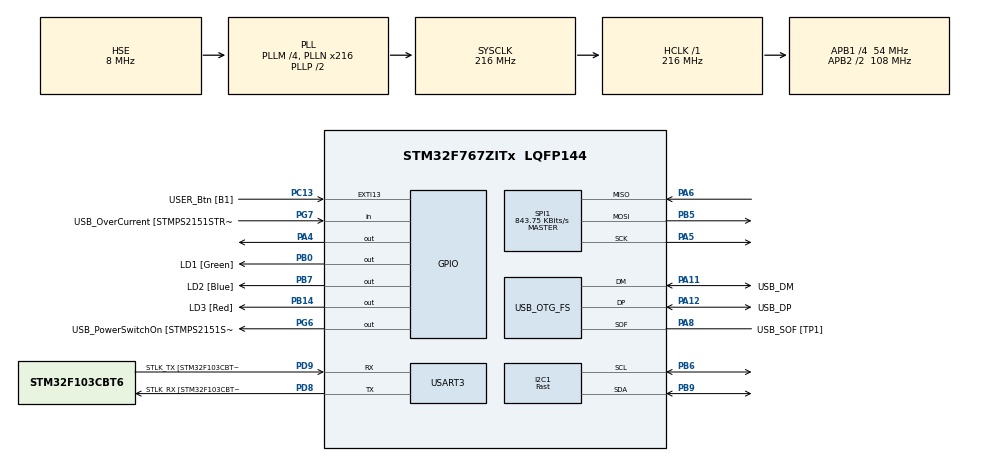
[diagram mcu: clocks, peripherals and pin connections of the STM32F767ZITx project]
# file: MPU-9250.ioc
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Mcu.Family=STM32F7
PA6.Mode=Full_Duplex_Master
USB_DEVICE.CLASS_NAME_FS=CDC
RCC.CortexFreq_Value=216000000
PG6.Signal=GPIO_Output
I2C1.I2C_Speed_Mode=I2C_Fast
SPI1.VirtualType=VM_MASTER
PB14.GPIO_Label=LD3 [Red]
I2C1.I2C_Rise_Time=100
PG6.GPIO_Label=USB_PowerSwitchOn [STMPS2151STR_EN]
PA14.GPIO_Label=TCK
RCC.SYSCLKSourceVirtual=RCC_SYSCLKSOURCE_PLLCLK
PA11.Mode=Device_Only
PB0.GPIO_Label=LD1 [Green]
PC14/OSC32_IN.Mode=LSE-External-Oscillator
USB_DEVICE.VirtualMode-CDC_FS=Cdc
PC13.GPIO_Label=USER_Btn [B1]
PB13.GPIO_Label=RMII_TXD1 [LAN8742A-CZ-TR_TXD1]
PB13.Signal=ETH_TXD1
PG13.Signal=ETH_TXD0
PD9.Mode=Asynchronous
PG11.Signal=ETH_TX_EN
RCC.SYSCLKSource=RCC_SYSCLKSOURCE_PLLCLK
ProjectManager.StackSize=0x400
USART3.VirtualMode-Asynchronous=VM_ASYNC
PA12.Signal=USB_OTG_FS_DP
SPI1.CLKPolarity=SPI_POLARITY_HIGH
SPI1.Direction=SPI_DIRECTION_2LINES
PH0/OSC_IN.Mode=HSE-External-Clock-Source
RCC.HCLKFreq_Value=216000000
RCC.APB2TimFreq_Value=216000000
PB6.Signal=I2C1_SCL
PH1/OSC_OUT.Signal=RCC_OSC_OUT
PB6.Mode=I2C
SPI1.CalculateBaudRate=843.75 KBits/s
PD8.Signal=USART3_TX
RCC.AHBFreq_Value=216000000
RCC.HSE_VALUE=8000000
RCC.PLLMUL=RCC_PLL_MUL9
PC4.GPIO_Label=RMII_RXD0 [LAN8742A-CZ-TR_RXD0]
PA14.Mode=Serial_Wire
PB5.Mode=Full_Duplex_Master
SPI1.DataSize=SPI_DATASIZE_16BIT
PA10.GPIO_Label=USB_ID
PB7.Signal=GPIO_Output
PA8.Signal=USB_OTG_FS_SOF
PH1/OSC_OUT.Mode=HSE-External-Clock-Source
PB7.GPIO_Label=LD2 [Blue]
Mcu.Package=LQFP144
PB9.Signal=I2C1_SDA
PA6.Signal=SPI1_MISO
PC14/OSC32_IN.Signal=RCC_OSC32_IN
NVIC.OTG_FS_IRQn=true\:0\:0\:false\:false\:true\:false\:true
PA2.GPIO_Label=RMII_MDIO [LAN8742A-CZ-TR_MDIO]
PA10.Signal=USB_OTG_FS_ID
USB_OTG_FS.VirtualMode=Device_Only
RCC.APB2CLKDivider=RCC_HCLK_DIV2
RCC.APB1TimFreq_Value=108000000
PG11.GPIO_Label=RMII_TX_EN [LAN8742A-CZ-TR_TXEN]
PC5.Signal=ETH_RXD1
SPI1.BaudRatePrescaler=SPI_BAUDRATEPRESCALER_128
PA5.Mode=Full_Duplex_Master
PB3.GPIO_Label=SWO
PG7.Signal=GPIO_Input
PD9.GPIO_Label=STLK_TX [STM32F103CBT6_PA2]
USB_DEVICE.VirtualModeFS=Cdc_FS
I2C1.I2C_Fall_Time=100
PC13.Signal=GPXTI13
PA9.GPIO_Label=USB_VBUS
PC4.Signal=ETH_RXD0
PA11.GPIO_Label=USB_DM
PD9.Signal=USART3_RX
RCC.APB1CLKDivider=RCC_HCLK_DIV4
PG13.GPIO_Label=RMII_TXD0 [LAN8742A-CZ-TR_TXD0]
PA12.GPIO_Label=USB_DP
I2C1.Analog_Filter=I2C_ANALOGFILTER_DISABLE
PD8.GPIO_Label=STLK_RX [STM32F103CBT6_PA3]
PA13.Signal=SYS_JTMS-SWDIO
PA8.GPIO_Label=USB_SOF [TP1]
ProjectManager.TargetToolchain=STM32CubeIDE
VP_USB_DEVICE_VS_USB_DEVICE_CDC_FS.Mode=CDC_FS
PB9.Mode=I2C
PA9.Signal=USB_OTG_FS_VBUS
I2C1.Timing=0x00A02353
RCC.USBFreq_Value=48000000
PD8.Mode=Asynchronous
PA1.Signal=ETH_REF_CLK
PB14.Signal=GPIO_Output
PA5.Signal=SPI1_SCK
board=NUCLEO-F767ZI
RCC.VCOOutputFreq_Value=432000000
PH0/OSC_IN.Signal=RCC_OSC_IN
RCC.APB2Freq_Value=108000000
RCC.PRESCALERUSB=RCC_USBCLKSOURCE_PLL_DIV1_5
SPI1.Mode=SPI_MODE_MASTER
PG7.GPIO_Label=USB_OverCurrent [STMPS2151STR_FAULT]
PA1.GPIO_Label=RMII_REF_CLK [LAN8742A-CZ-TR_REFCLK0]
PC1.GPIO_Label=RMII_MDC [LAN8742A-CZ-TR_MDC]
PA13.Mode=Serial_Wire
Mcu.Name=STM32F767ZITx
PA2.Signal=ETH_MDIO
PA13.GPIO_Label=TMS
RCC.48MHZClocksFreq_Value=24000000
PB3.Signal=SYS_JTDO-SWO
PA4.Signal=GPIO_Output
RCC.SYSCLKFreq_VALUE=216000000
PB5.Signal=SPI1_MOSI
PA7.GPIO_Label=RMII_CRS_DV [LAN8742A-CZ-TR_CRS_DV]
PA12.Mode=Device_Only
PC5.GPIO_Label=RMII_RXD1 [LAN8742A-CZ-TR_RXD1]
PC15/OSC32_OUT.Mode=LSE-External-Oscillator
PA11.Signal=USB_OTG_FS_DM
PA14.Signal=SYS_JTCK-SWCLK
ProjectManager.HeapSize=0x200
RCC.HSI_VALUE=16000000
PH0/OSC_IN.GPIO_Label=MCO [STM32F103CBT6_PA8]
RCC.PLLQ=9
NVIC.PriorityGroup=NVIC_PRIORITYGROUP_4
RCC.PLLM=4
RCC.PLLN=216
PC15/OSC32_OUT.Signal=RCC_OSC32_OUT
PA8.Mode=Activate_SOF_FS
RCC.APB1Freq_Value=54000000
PB0.Signal=GPIO_Output
PC1.Signal=ETH_MDC
PA7.Signal=ETH_CRS_DV

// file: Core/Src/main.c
/* USER CODE BEGIN Header */
/**
  ******************************************************************************
  * @file           : main.c
  * @brief          : Main program body
  ******************************************************************************
  * @attention
  *
  * <h2><center>&copy; Copyright (c) 2021 STMicroelectronics.
  * All rights reserved.</center></h2>
  *
  * This software component is licensed by ST under Ultimate Liberty license
  * SLA0044, the "License"; You may not use this file except in compliance with
  * the License. You may obtain a copy of the License at:
  *                             www.st.com/SLA0044
  *
  ******************************************************************************
  */
/* USER CODE END Header */
#include "main.h"
#include "usb_device.h"

/* USER CODE BEGIN Includes */
#include "usbd_cdc_if.h"
/* USER CODE END Includes */

I2C_HandleTypeDef hi2c1;

SPI_HandleTypeDef hspi1;

UART_HandleTypeDef huart3;

/* USER CODE BEGIN PV */
uint8_t *data = "Hello World from USB\r\n";
const uint16_t READ_ACCEL_ZOUTL = 0xC00;
const uint16_t READ_TEMP_DISCARD = 0x0000;
const uint16_t READ_TEMP_H = 0xC100;
const uint16_t READ_TEMP_L = 0xC200;

uint16_t avg=0;
uint8_t count = 0;

char usb_buf[100];
/* USER CODE END PV */

void SystemClock_Config(void);
static void MX_GPIO_Init(void);
static void MX_SPI1_Init(void);
static void MX_USART3_UART_Init(void);
static void MX_I2C1_Init(void);

/* USER CODE BEGIN 0 */
void add_2_avg(uint16_t val) {
	  static uint32_t sum;
	  if(count == 10) {
		  avg = sum /10;
		  sum = 0;
		  count = 0;
	  }
	  sum += val;
	  count++;

}
/* USER CODE END 0 */

int main(void)
{

  /* MCU Configuration--------------------------------------------------------*/

  /* Reset of all peripherals, Initializes the Flash interface and the Systick. */
  HAL_Init();

  /* Configure the system clock */
  SystemClock_Config();

  /* Initialize all configured peripherals */
  MX_GPIO_Init();
  MX_SPI1_Init();
  MX_USART3_UART_Init();
  MX_USB_DEVICE_Init();
  MX_I2C1_Init();
  /* USER CODE BEGIN 2 */
  uint8_t result_str_len;
  uint16_t read_val = 0x0000;
  uint16_t temp = 0x00;
  const uint16_t data = 0x6B01;
  volatile uint8_t garb = 0x0;
  HAL_StatusTypeDef error = 0;

  HAL_GPIO_WritePin(GPIOA, GPIO_PIN_4, GPIO_PIN_RESET);
  HAL_SPI_Transmit(&hspi1, (uint16_t*)&data, 2, 200);
  HAL_GPIO_WritePin(GPIOA, GPIO_PIN_4, GPIO_PIN_SET);

  /* USER CODE END 2 */

  /* Infinite loop */
  while (1)
  {

    /* USER CODE BEGIN 3 */
	  HAL_GPIO_TogglePin(GPIOB, LD1_Pin);
	  HAL_GPIO_TogglePin(GPIOB, LD3_Pin);

	  HAL_GPIO_WritePin(GPIOA, GPIO_PIN_4, GPIO_PIN_RESET);
	  HAL_SPI_TransmitReceive(&hspi1, (uint16_t*)&READ_TEMP_H, (uint16_t*)&temp, 1,  200);
	  HAL_GPIO_WritePin(GPIOA, GPIO_PIN_4, GPIO_PIN_SET);
	  for(int i = 0; i < 200; i ++) {
		  garb++;
	  }
	  HAL_GPIO_WritePin(GPIOA, GPIO_PIN_4, GPIO_PIN_RESET);
	  HAL_SPI_TransmitReceive(&hspi1, (uint16_t*)&READ_TEMP_L, (uint16_t*)&read_val, 1, 200);
	  HAL_GPIO_WritePin(GPIOA, GPIO_PIN_4, GPIO_PIN_SET);
	  read_val = read_val & 255;
	  temp = temp & 255;
	  read_val = (temp << 8) | read_val;
	  add_2_avg(read_val);
	  uint32_t tempc = 0;
	  if(avg & 0x4000) {
		  tempc = 0x7FFF -avg;
		  tempc *=100;
		  tempc/=3339;
		  tempc = 210-41 - tempc;

	  }else {
		  tempc  = avg *100;
		  tempc = tempc/3339;
		  tempc += 210;
		  tempc-=41;
	  }

	  result_str_len = sprintf(usb_buf, "Temp: %6d\tAvg: %5d\tTemp: %d\r", read_val, avg, tempc );
	  CDC_Transmit_FS(usb_buf, result_str_len);
	  HAL_Delay(250);
  }
  /* USER CODE END 3 */
}

void SystemClock_Config(void)
{
  RCC_OscInitTypeDef RCC_OscInitStruct = {0};
  RCC_ClkInitTypeDef RCC_ClkInitStruct = {0};
  RCC_PeriphCLKInitTypeDef PeriphClkInitStruct = {0};

  /** Configure LSE Drive Capability
  */
  HAL_PWR_EnableBkUpAccess();
  /** Configure the main internal regulator output voltage
  */
  __HAL_RCC_PWR_CLK_ENABLE();
  __HAL_PWR_VOLTAGESCALING_CONFIG(PWR_REGULATOR_VOLTAGE_SCALE1);
  /** Initializes the RCC Oscillators according to the specified parameters
  * in the RCC_OscInitTypeDef structure.
  */
  RCC_OscInitStruct.OscillatorType = RCC_OSCILLATORTYPE_HSE;
  RCC_OscInitStruct.HSEState = RCC_HSE_BYPASS;
  RCC_OscInitStruct.PLL.PLLState = RCC_PLL_ON;
  RCC_OscInitStruct.PLL.PLLSource = RCC_PLLSOURCE_HSE;
  RCC_OscInitStruct.PLL.PLLM = 4;
  RCC_OscInitStruct.PLL.PLLN = 216;
  RCC_OscInitStruct.PLL.PLLP = RCC_PLLP_DIV2;
  RCC_OscInitStruct.PLL.PLLQ = 9;
  if (HAL_RCC_OscConfig(&RCC_OscInitStruct) != HAL_OK)
  {
    Error_Handler();
  }
  /** Activate the Over-Drive mode
  */
  if (HAL_PWREx_EnableOverDrive() != HAL_OK)
  {
    Error_Handler();
  }
  /** Initializes the CPU, AHB and APB buses clocks
  */
  RCC_ClkInitStruct.ClockType = RCC_CLOCKTYPE_HCLK|RCC_CLOCKTYPE_SYSCLK
                              |RCC_CLOCKTYPE_PCLK1|RCC_CLOCKTYPE_PCLK2;
  RCC_ClkInitStruct.SYSCLKSource = RCC_SYSCLKSOURCE_PLLCLK;
  RCC_ClkInitStruct.AHBCLKDivider = RCC_SYSCLK_DIV1;
  RCC_ClkInitStruct.APB1CLKDivider = RCC_HCLK_DIV4;
  RCC_ClkInitStruct.APB2CLKDivider = RCC_HCLK_DIV2;

  if (HAL_RCC_ClockConfig(&RCC_ClkInitStruct, FLASH_LATENCY_7) != HAL_OK)
  {
    Error_Handler();
  }
  PeriphClkInitStruct.PeriphClockSelection = RCC_PERIPHCLK_USART3|RCC_PERIPHCLK_I2C1
                              |RCC_PERIPHCLK_CLK48;
  PeriphClkInitStruct.Usart3ClockSelection = RCC_USART3CLKSOURCE_PCLK1;
  PeriphClkInitStruct.I2c1ClockSelection = RCC_I2C1CLKSOURCE_PCLK1;
  PeriphClkInitStruct.Clk48ClockSelection = RCC_CLK48SOURCE_PLL;
  if (HAL_RCCEx_PeriphCLKConfig(&PeriphClkInitStruct) != HAL_OK)
  {
    Error_Handler();
  }
}

static void MX_I2C1_Init(void)
{

  hi2c1.Instance = I2C1;
  hi2c1.Init.Timing = 0x00A02353;
  hi2c1.Init.OwnAddress1 = 0;
  hi2c1.Init.AddressingMode = I2C_ADDRESSINGMODE_7BIT;
  hi2c1.Init.DualAddressMode = I2C_DUALADDRESS_DISABLE;
  hi2c1.Init.OwnAddress2 = 0;
  hi2c1.Init.OwnAddress2Masks = I2C_OA2_NOMASK;
  hi2c1.Init.GeneralCallMode = I2C_GENERALCALL_DISABLE;
  hi2c1.Init.NoStretchMode = I2C_NOSTRETCH_DISABLE;
  if (HAL_I2C_Init(&hi2c1) != HAL_OK)
  {
    Error_Handler();
  }
  /** Configure Analogue filter
  */
  if (HAL_I2CEx_ConfigAnalogFilter(&hi2c1, I2C_ANALOGFILTER_DISABLE) != HAL_OK)
  {
    Error_Handler();
  }
  /** Configure Digital filter
  */
  if (HAL_I2CEx_ConfigDigitalFilter(&hi2c1, 0) != HAL_OK)
  {
    Error_Handler();
  }

}

static void MX_SPI1_Init(void)
{

  /* SPI1 parameter configuration*/
  hspi1.Instance = SPI1;
  hspi1.Init.Mode = SPI_MODE_MASTER;
  hspi1.Init.Direction = SPI_DIRECTION_2LINES;
  hspi1.Init.DataSize = SPI_DATASIZE_16BIT;
  hspi1.Init.CLKPolarity = SPI_POLARITY_HIGH;
  hspi1.Init.CLKPhase = SPI_PHASE_1EDGE;
  hspi1.Init.NSS = SPI_NSS_SOFT;
  hspi1.Init.BaudRatePrescaler = SPI_BAUDRATEPRESCALER_128;
  hspi1.Init.FirstBit = SPI_FIRSTBIT_MSB;
  hspi1.Init.TIMode = SPI_TIMODE_DISABLE;
  hspi1.Init.CRCCalculation = SPI_CRCCALCULATION_DISABLE;
  hspi1.Init.CRCPolynomial = 7;
  hspi1.Init.CRCLength = SPI_CRC_LENGTH_DATASIZE;
  hspi1.Init.NSSPMode = SPI_NSS_PULSE_ENABLE;
  if (HAL_SPI_Init(&hspi1) != HAL_OK)
  {
    Error_Handler();
  }

}

static void MX_USART3_UART_Init(void)
{

  huart3.Instance = USART3;
  huart3.Init.BaudRate = 115200;
  huart3.Init.WordLength = UART_WORDLENGTH_8B;
  huart3.Init.StopBits = UART_STOPBITS_1;
  huart3.Init.Parity = UART_PARITY_NONE;
  huart3.Init.Mode = UART_MODE_TX_RX;
  huart3.Init.HwFlowCtl = UART_HWCONTROL_NONE;
  huart3.Init.OverSampling = UART_OVERSAMPLING_16;
  huart3.Init.OneBitSampling = UART_ONE_BIT_SAMPLE_DISABLE;
  huart3.AdvancedInit.AdvFeatureInit = UART_ADVFEATURE_NO_INIT;
  if (HAL_UART_Init(&huart3) != HAL_OK)
  {
    Error_Handler();
  }

}

static void MX_GPIO_Init(void)
{
  GPIO_InitTypeDef GPIO_InitStruct = {0};

  /* GPIO Ports Clock Enable */
  __HAL_RCC_GPIOC_CLK_ENABLE();
  __HAL_RCC_GPIOH_CLK_ENABLE();
  __HAL_RCC_GPIOA_CLK_ENABLE();
  __HAL_RCC_GPIOB_CLK_ENABLE();
  __HAL_RCC_GPIOD_CLK_ENABLE();
  __HAL_RCC_GPIOG_CLK_ENABLE();

  /*Configure GPIO pin Output Level */
  HAL_GPIO_WritePin(GPIOA, GPIO_PIN_4, GPIO_PIN_RESET);

  /*Configure GPIO pin Output Level */
  HAL_GPIO_WritePin(GPIOB, LD1_Pin|LD3_Pin|LD2_Pin, GPIO_PIN_RESET);

  /*Configure GPIO pin Output Level */
  HAL_GPIO_WritePin(USB_PowerSwitchOn_GPIO_Port, USB_PowerSwitchOn_Pin, GPIO_PIN_RESET);

  /*Configure GPIO pin : USER_Btn_Pin */
  GPIO_InitStruct.Pin = USER_Btn_Pin;
  GPIO_InitStruct.Mode = GPIO_MODE_IT_RISING;
  GPIO_InitStruct.Pull = GPIO_NOPULL;
  HAL_GPIO_Init(USER_Btn_GPIO_Port, &GPIO_InitStruct);

  /*Configure GPIO pins : RMII_MDC_Pin RMII_RXD0_Pin RMII_RXD1_Pin */
  GPIO_InitStruct.Pin = RMII_MDC_Pin|RMII_RXD0_Pin|RMII_RXD1_Pin;
  GPIO_InitStruct.Mode = GPIO_MODE_AF_PP;
  GPIO_InitStruct.Pull = GPIO_NOPULL;
  GPIO_InitStruct.Speed = GPIO_SPEED_FREQ_VERY_HIGH;
  GPIO_InitStruct.Alternate = GPIO_AF11_ETH;
  HAL_GPIO_Init(GPIOC, &GPIO_InitStruct);

  /*Configure GPIO pins : RMII_REF_CLK_Pin RMII_MDIO_Pin RMII_CRS_DV_Pin */
  GPIO_InitStruct.Pin = RMII_REF_CLK_Pin|RMII_MDIO_Pin|RMII_CRS_DV_Pin;
  GPIO_InitStruct.Mode = GPIO_MODE_AF_PP;
  GPIO_InitStruct.Pull = GPIO_NOPULL;
  GPIO_InitStruct.Speed = GPIO_SPEED_FREQ_VERY_HIGH;
  GPIO_InitStruct.Alternate = GPIO_AF11_ETH;
  HAL_GPIO_Init(GPIOA, &GPIO_InitStruct);

  /*Configure GPIO pin : PA4 */
  GPIO_InitStruct.Pin = GPIO_PIN_4;
  GPIO_InitStruct.Mode = GPIO_MODE_OUTPUT_PP;
  GPIO_InitStruct.Pull = GPIO_NOPULL;
  GPIO_InitStruct.Speed = GPIO_SPEED_FREQ_LOW;
  HAL_GPIO_Init(GPIOA, &GPIO_InitStruct);

  /*Configure GPIO pins : LD1_Pin LD3_Pin LD2_Pin */
  GPIO_InitStruct.Pin = LD1_Pin|LD3_Pin|LD2_Pin;
  GPIO_InitStruct.Mode = GPIO_MODE_OUTPUT_PP;
  GPIO_InitStruct.Pull = GPIO_NOPULL;
  GPIO_InitStruct.Speed = GPIO_SPEED_FREQ_LOW;
  HAL_GPIO_Init(GPIOB, &GPIO_InitStruct);

  /*Configure GPIO pin : RMII_TXD1_Pin */
  GPIO_InitStruct.Pin = RMII_TXD1_Pin;
  GPIO_InitStruct.Mode = GPIO_MODE_AF_PP;
  GPIO_InitStruct.Pull = GPIO_NOPULL;
  GPIO_InitStruct.Speed = GPIO_SPEED_FREQ_VERY_HIGH;
  GPIO_InitStruct.Alternate = GPIO_AF11_ETH;
  HAL_GPIO_Init(RMII_TXD1_GPIO_Port, &GPIO_InitStruct);

  /*Configure GPIO pin : USB_PowerSwitchOn_Pin */
  GPIO_InitStruct.Pin = USB_PowerSwitchOn_Pin;
  GPIO_InitStruct.Mode = GPIO_MODE_OUTPUT_PP;
  GPIO_InitStruct.Pull = GPIO_NOPULL;
  GPIO_InitStruct.Speed = GPIO_SPEED_FREQ_LOW;
  HAL_GPIO_Init(USB_PowerSwitchOn_GPIO_Port, &GPIO_InitStruct);

  /*Configure GPIO pin : USB_OverCurrent_Pin */
  GPIO_InitStruct.Pin = USB_OverCurrent_Pin;
  GPIO_InitStruct.Mode = GPIO_MODE_INPUT;
  GPIO_InitStruct.Pull = GPIO_NOPULL;
  HAL_GPIO_Init(USB_OverCurrent_GPIO_Port, &GPIO_InitStruct);

  /*Configure GPIO pins : RMII_TX_EN_Pin RMII_TXD0_Pin */
  GPIO_InitStruct.Pin = RMII_TX_EN_Pin|RMII_TXD0_Pin;
  GPIO_InitStruct.Mode = GPIO_MODE_AF_PP;
  GPIO_InitStruct.Pull = GPIO_NOPULL;
  GPIO_InitStruct.Speed = GPIO_SPEED_FREQ_VERY_HIGH;
  GPIO_InitStruct.Alternate = GPIO_AF11_ETH;
  HAL_GPIO_Init(GPIOG, &GPIO_InitStruct);

}

void Error_Handler(void)
{
}

/************************ (C) COPYRIGHT STMicroelectronics *****END OF FILE****/
